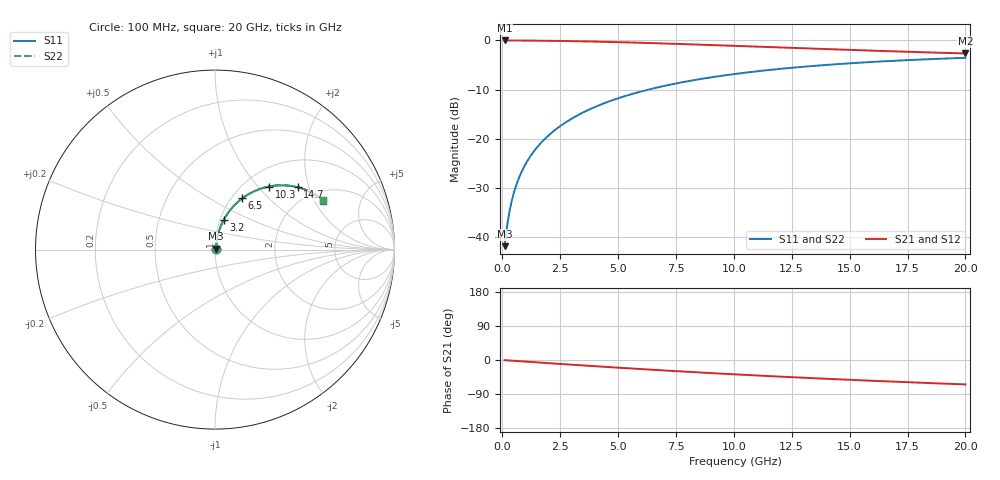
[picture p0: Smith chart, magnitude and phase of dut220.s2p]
! Touchstone file exported from HFSS 2026.1.0
!  File:  C:/ffzhzh/LocalFiles/Ansys_Project_Files/temp_train_BSMRDL_220_1782988038_42984.aedt
!  Generated:  06:28:46 PM Jul  2, 2026
!  Design:  BSMRDL
!  Project:  temp_train_BSMRDL_220_1782988038_42984
! Variables:
!  h_bsmrdl = 4.72um
!  h_ox = 20um
!  h_rdl = 5um
!  h_sub = 80um
!  h_tmrdl = 5um
!  h_tsv = 80um
!  h_via = 3um
!  l_bsmrdl = 948.83um
!  l_sub = 1348.83um
!  l_tmrdl = 200um
!  m_sub = 200um
!  pitch = 59.26um
!  r_tsv = 6um
!  s_tmrdl = 10um
!  w_bsmrdl = 11.97um
!  w_sub = 500um
!  w_tmrdl = 12um
!  x_tsv_center1 = 206um
!  x_tsv_center2 = 1166.8um
!  x_tsv_center3 = 1378.8um
!  x_tsv_center4 = 2339.6um
!  x_tsv_center5 = 2551.6um
!  x_tsv_center6 = 3512.4um
# GHz S MA R 50.000000
! Terminal data exported
! Port[1] = BSM_RDL1_1_T1
! Port[2] = BSM_RDL1_1_T2
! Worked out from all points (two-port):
!   200 points, 100 MHz to 20 GHz, reference 50 ohm
!   highest |S21| = -0.05 dB at 100 MHz (marker M1); lowest = -2.7 dB at 20 GHz (marker M2)
!   |S21| within 3 dB of the highest: start of sweep to end of sweep
!   lowest |S11| = -41.8 dB at 100 MHz (marker M3), VSWR 1.02, Z = 50.6 + j0.565 ohm
!   |S11| at or under -10 dB: start of sweep to 6.327 GHz
!   |S22| runs from -41.8 to -3.6 dB; largest |S21 - S12| = 5.2e-15
!   S11 on the Smith chart (normalised r, x): 100 MHz: 1.01, +0.01; 3.2 GHz: 1.04, +0.35; 6.5 GHz: 1.12, +0.71; 10.3 GHz: 1.28, +1.15; 14.7 GHz: 1.62, +1.69; 20 GHz: 2.42, +2.36
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0.1  0.008162 43.1  0.9941 -0.4  0.9941 -0.4  0.008162 43.1
! Gamma 0 0 0 0
! Port Impedance 50 0 50 0
0.2  0.01272 61.0  0.9939 -0.9  0.9939 -0.9  0.01272 61.0
0.3  0.01783 68.6  0.9937 -1.3  0.9937 -1.3  0.01783 68.6
0.4  0.0231 72.6  0.9935 -1.7  0.9935 -1.7  0.0231 72.6
0.5  0.02841 74.9  0.9933 -2.1  0.9933 -2.1  0.02841 74.9
0.7  0.0391 77.4  0.9927 -3.0  0.9927 -3.0  0.0391 77.4
1  0.05518 78.7  0.9917 -4.2  0.9917 -4.2  0.05518 78.7
1.4  0.07659 78.8  0.99 -5.9  0.99 -5.9  0.07659 78.8
1.9  0.1032 77.9  0.9872 -7.9  0.9872 -7.9  0.1032 77.9
2.5  0.1346 76.2  0.9829 -10.4  0.9829 -10.4  0.1346 76.2
3.2  0.1705 73.8  0.9766 -13.2  0.9766 -13.2  0.1705 73.8
3.5  0.1856 72.8  0.9736 -14.4  0.9736 -14.4  0.1856 72.8
4.9  0.2529 67.7  0.9569 -19.9  0.9569 -19.9  0.2529 67.7
6.5  0.3235 62.0  0.934 -25.8  0.934 -25.8  0.3235 62.0
6.8  0.336 60.9  0.9294 -26.9  0.9294 -26.9  0.336 60.9
8.3  0.3944 55.8  0.9053 -32.2  0.9053 -32.2  0.3944 55.9
10.1  0.4562 50.1  0.8754 -38.1  0.8754 -38.1  0.4562 50.1
10.3  0.4625 49.5  0.872 -38.7  0.872 -38.7  0.4625 49.5
13.4  0.5477 40.5  0.8215 -47.9  0.8215 -47.9  0.5477 40.5
14.7  0.5768 37.0  0.8016 -51.5  0.8016 -51.5  0.5768 37.0
16.7  0.615 31.9  0.7734 -56.7  0.7734 -56.7  0.615 32.0
20  0.6629 24.3  0.734 -64.4  0.734 -64.4  0.6629 24.4
